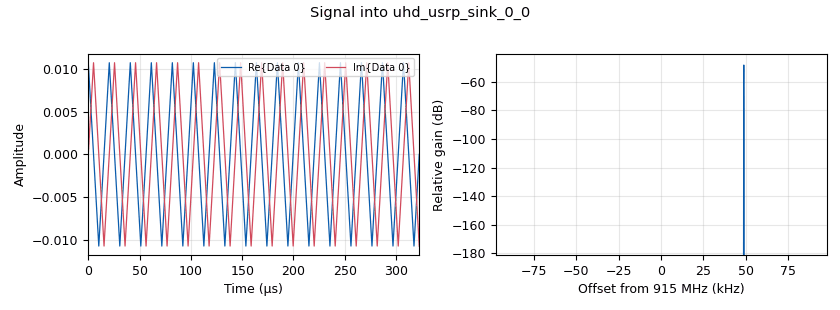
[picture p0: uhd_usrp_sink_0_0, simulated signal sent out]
<?xml version='1.0' encoding='utf-8'?>
<?grc format='1' created='3.7.9'?>
<flow_graph>
<block>
<key>options</key>
<param><key>id</key><value>cal_tx_tone915_narrow</value></param>
<param><key>category</key><value>Custom</value></param>
<param><key>generate_options</key><value>no_gui</value></param>
</block>
<block>
<key>variable_slider</key>
<param><key>id</key><value>iq_i</value></param>
<param><key>converver</key><value>float_converter</value></param>
<param><key>value</key><value>0</value></param>
<param><key>_enabled</key><value>0</value></param>
<param><key>label</key><value></value></param>
<param><key>max</key><value>2</value></param>
<param><key>min</key><value>-2</value></param>
<param><key>num_steps</key><value>1000</value></param>
<param><key>style</key><value>wx.SL_HORIZONTAL</value></param>
</block>
<block>
<key>variable_slider</key>
<param><key>id</key><value>iq_q</value></param>
<param><key>converver</key><value>float_converter</value></param>
<param><key>value</key><value>0</value></param>
<param><key>_enabled</key><value>0</value></param>
<param><key>label</key><value></value></param>
<param><key>max</key><value>2</value></param>
<param><key>min</key><value>-2</value></param>
<param><key>num_steps</key><value>1000</value></param>
<param><key>style</key><value>wx.SL_HORIZONTAL</value></param>
</block>
<block>
<key>variable</key>
<param><key>id</key><value>samp_freq</value></param>
<param><key>value</key><value>915E6</value></param>
</block>
<block>
<key>variable</key>
<param><key>id</key><value>samp_rate</value></param>
<param><key>value</key><value>1E8/(2**9)</value></param>
</block>
<block>
<key>variable</key>
<param><key>id</key><value>txrx_gain</value></param>
<param><key>value</key><value>0</value></param>
</block>
<block>
<key>analog_sig_source_x</key>
<param><key>id</key><value>analog_sig_source_x_0</value></param>
<param><key>amp</key><value>.0107</value></param>
<param><key>freq</key><value>samp_rate/4</value></param>
<param><key>offset</key><value>0</value></param>
<param><key>type</key><value>complex</value></param>
<param><key>samp_rate</key><value>samp_rate</value></param>
<param><key>waveform</key><value>analog.GR_COS_WAVE</value></param>
</block>
<block>
<key>note</key>
<param><key>id</key><value>note_0</value></param>
<param><key>note</key><value>1 mw (10 nw after 50db attenuation)</value></param>
</block>
<block>
<key>note</key>
<param><key>id</key><value>note_1</value></param>
<param><key>note</key><value>915</value></param>
</block>
<block>
<key>uhd_usrp_sink</key>
<param><key>id</key><value>uhd_usrp_sink_0_0</value></param>
<param><key>ant0</key><value></value></param>
<param><key>center_freq0</key><value>samp_freq</value></param>
<param><key>norm_gain0</key><value>False</value></param>
<param><key>gain0</key><value>txrx_gain</value></param>
<param><key>clock_rate</key><value>0.0</value></param>
<param><key>dev_addr</key><value>"addr=192.168.2.201"</value></param>
<param><key>dev_args</key><value>""</value></param>
<param><key>type</key><value>fc32</value></param>
<param><key>clock_source0</key><value>external</value></param>
<param><key>samp_rate</key><value>samp_rate</value></param>
<param><key>hide_cmd_port</key><value>False</value></param>
<param><key>sync</key><value></value></param>
<param><key>len_tag_name</key><value></value></param>
</block>
<connection><source_block_id>analog_sig_source_x_0</source_block_id><sink_block_id>uhd_usrp_sink_0_0</sink_block_id><source_key>0</source_key><sink_key>0</sink_key></connection>
</flow_graph>
